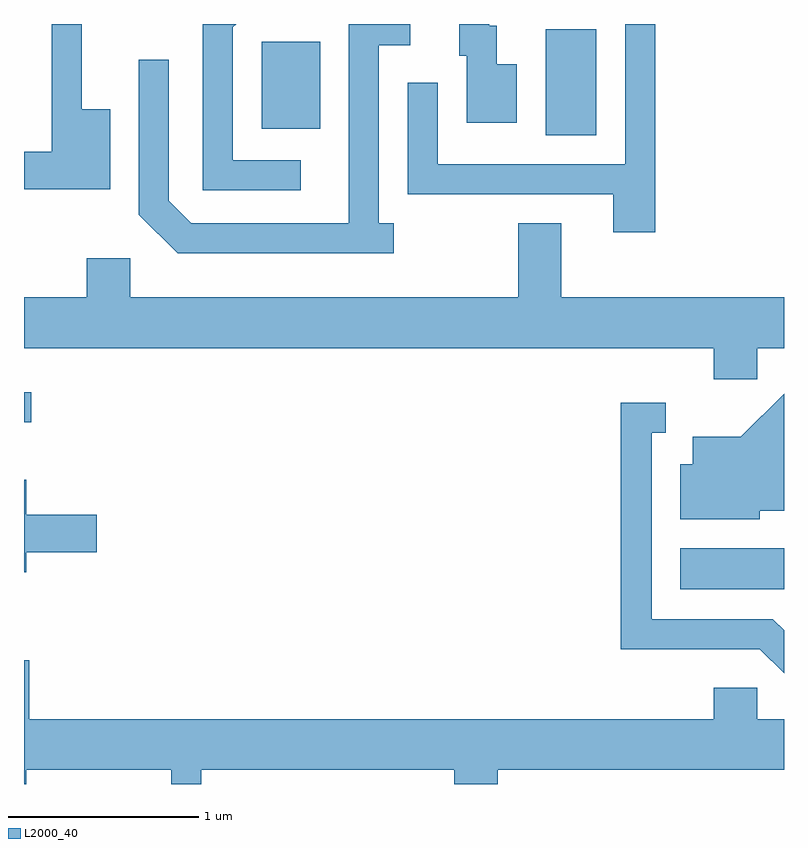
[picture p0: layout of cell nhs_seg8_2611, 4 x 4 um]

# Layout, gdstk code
import gdstk
lib = gdstk.Library(unit=1e-6, precision=1e-09)
def R(c, l, rs):  # rectangles x0, y0, x1, y1
    for r in rs: c.add(gdstk.rectangle(r[:2], r[2:], *l))
def P(c, l, *ps):  # polygons
    for p in ps: c.add(gdstk.Polygon(p, *l))
L2000_40 = (2000, 40)

nhs_seg8_2611 = lib.new_cell('nhs_seg8_2611')
R(nhs_seg8_2611, L2000_40, [(267.066,1837.366,267.611,1837.584), (263.611,1838.246,263.648,1838.404), (266.356,1839.756,266.624,1840.314), (264.861,1839.791,265.169,1840.249)])
P(nhs_seg8_2611, L2000_40, [(265.558,1839.294),(265.479,1839.294),(265.479,1840.231),(265.643,1840.231),(265.643,1840.342),(265.321,1840.342),(265.321,1839.294),(264.492,1839.294),(264.374,1839.412),(264.374,1840.153),(264.216,1840.153),(264.216,1839.339),(264.419,1839.136),(265.558,1839.136)],
  [(266.204,1840.129),(266.099,1840.129),(266.099,1840.334),(266.059,1840.334),(266.059,1840.342),(265.901,1840.342),(265.901,1840.176),(265.941,1840.176),(265.941,1839.821),(266.204,1839.821)],
  [(266.934,1840.342),(266.776,1840.342),(266.776,1839.604),(265.789,1839.604),(265.789,1840.033),(265.631,1840.033),(265.631,1839.446),(266.711,1839.446),(266.711,1839.246),(266.934,1839.246)],
  [(265.068,1839.624),(264.709,1839.624),(264.709,1840.324),(264.727,1840.342),(264.551,1840.342),(264.551,1839.466),(265.068,1839.466)],
  [(264.064,1839.894),(263.914,1839.894),(263.914,1840.342),(263.756,1840.342),(263.756,1839.669),(263.611,1839.669),(263.611,1839.471),(264.064,1839.471)],
  [(267.469,1838.636),(267.611,1838.636),(267.611,1838.904),(266.439,1838.904),(266.439,1839.294),(266.211,1839.294),(266.211,1838.904),(264.169,1838.904),(264.169,1839.109),(263.941,1839.109),(263.941,1838.904),(263.611,1838.904),(263.611,1838.636),(267.241,1838.636),(267.241,1838.471),(267.469,1838.471)],
  [(267.484,1837.781),(267.611,1837.781),(267.611,1838.396),(267.384,1838.169),(267.131,1838.169),(267.131,1838.024),(267.066,1838.024),(267.066,1837.736),(267.484,1837.736)],
  [(267.611,1837.15),(267.552,1837.209),(266.914,1837.209),(266.914,1838.191),(266.988,1838.191),(266.988,1838.349),(266.751,1838.349),(266.751,1837.051),(267.484,1837.051),(267.611,1836.924)],
  [(263.624,1837.561),(263.994,1837.561),(263.994,1837.759),(263.624,1837.759),(263.624,1837.944),(263.611,1837.944),(263.611,1837.456),(263.624,1837.456)],
  [(263.624,1836.416),(264.386,1836.416),(264.386,1836.342),(264.544,1836.342),(264.544,1836.416),(265.876,1836.416),(265.876,1836.342),(266.104,1836.342),(266.104,1836.416),(267.611,1836.416),(267.611,1836.684),(267.469,1836.684),(267.469,1836.849),(267.241,1836.849),(267.241,1836.684),(263.639,1836.684),(263.639,1836.994),(263.611,1836.994),(263.611,1836.342),(263.624,1836.342)])

lib.write_gds('nhs_seg8_2611.gds')
